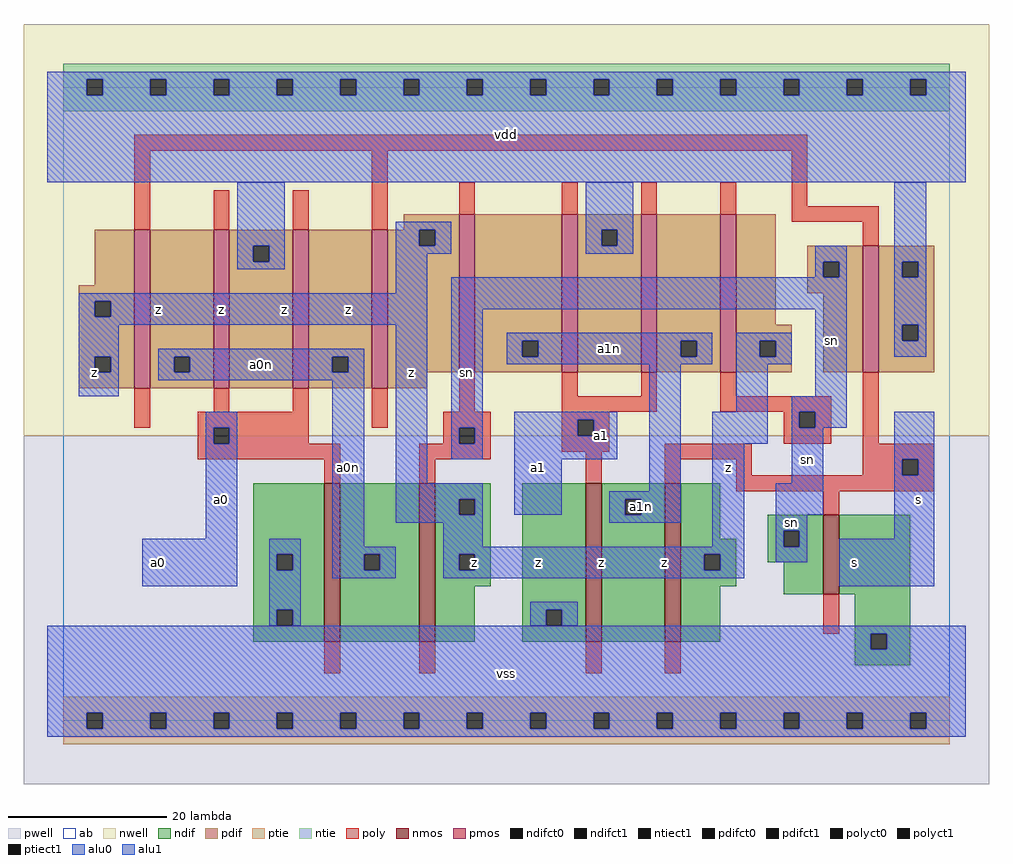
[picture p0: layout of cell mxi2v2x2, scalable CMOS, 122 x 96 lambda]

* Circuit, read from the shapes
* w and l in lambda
.subckt mxi2v2x2 a0 a0n a1 a1n s sn vdd vss z
M1 a0n a0 vss vss nfet w=20 l=2
M2 z sn a0n vss nfet w=20 l=2
M3 a1n a1 vss vss nfet w=20 l=2
M4 z s a1n vss nfet w=20 l=2
M5 vss s sn vss nfet w=10 l=2
M6 a0n s z vdd pfet w=20 l=2 m=2
M7 vdd a0 a0n vdd pfet w=20 l=2 m=2
M8 a1n sn z vdd pfet w=20 l=2 m=2
M9 vdd a1 a1n vdd pfet w=20 l=2 m=2
M10 vdd s sn vdd pfet w=16 l=2
.ends

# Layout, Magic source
magic
tech scmos
<< ab >>
rect 0 0 112 80
<< nwell >>
rect -5 36 117 88
<< pwell >>
rect -5 -8 117 36
<< poly >>
rect 9 72 94 74
rect 9 62 11 72
rect 19 62 21 67
rect 29 62 31 67
rect 39 62 41 72
rect 50 64 52 68
rect 63 64 65 68
rect 73 64 75 68
rect 83 64 85 68
rect 92 65 94 72
rect 92 63 103 65
rect 101 60 103 63
rect 9 37 11 42
rect 19 39 21 42
rect 29 39 31 42
rect 17 37 31 39
rect 39 37 41 42
rect 50 39 52 44
rect 63 41 65 44
rect 73 41 75 44
rect 63 39 75 41
rect 83 41 85 44
rect 83 39 97 41
rect 48 37 54 39
rect 17 35 19 37
rect 21 35 31 37
rect 48 35 50 37
rect 52 35 54 37
rect 17 33 35 35
rect 33 30 35 33
rect 45 33 54 35
rect 63 38 69 39
rect 63 36 65 38
rect 67 36 69 38
rect 63 34 69 36
rect 91 37 93 39
rect 95 37 97 39
rect 91 35 97 37
rect 101 35 103 44
rect 45 30 47 33
rect 66 30 68 34
rect 76 33 87 35
rect 76 30 78 33
rect 85 31 87 33
rect 101 33 110 35
rect 101 31 106 33
rect 108 31 110 33
rect 85 29 110 31
rect 96 26 98 29
rect 96 11 98 16
rect 33 6 35 10
rect 45 6 47 10
rect 66 6 68 10
rect 76 6 78 10
<< ndif >>
rect 24 21 33 30
rect 24 19 27 21
rect 29 19 33 21
rect 24 14 33 19
rect 24 12 27 14
rect 29 12 33 14
rect 24 10 33 12
rect 35 21 45 30
rect 35 19 38 21
rect 40 19 45 21
rect 35 10 45 19
rect 47 28 54 30
rect 47 26 50 28
rect 52 26 54 28
rect 47 21 54 26
rect 47 19 50 21
rect 52 19 54 21
rect 47 17 54 19
rect 47 10 52 17
rect 58 14 66 30
rect 58 12 61 14
rect 63 12 66 14
rect 58 10 66 12
rect 68 28 76 30
rect 68 26 71 28
rect 73 26 76 28
rect 68 10 76 26
rect 78 23 83 30
rect 89 24 96 26
rect 78 21 85 23
rect 78 19 81 21
rect 83 19 85 21
rect 89 22 91 24
rect 93 22 96 24
rect 89 20 96 22
rect 78 17 85 19
rect 78 10 83 17
rect 91 16 96 20
rect 98 16 107 26
rect 100 11 107 16
rect 100 9 102 11
rect 104 9 107 11
rect 100 7 107 9
<< pdif >>
rect 43 62 50 64
rect 4 55 9 62
rect 2 53 9 55
rect 2 51 4 53
rect 6 51 9 53
rect 2 46 9 51
rect 2 44 4 46
rect 6 44 9 46
rect 2 42 9 44
rect 11 46 19 62
rect 11 44 14 46
rect 16 44 19 46
rect 11 42 19 44
rect 21 60 29 62
rect 21 58 24 60
rect 26 58 29 60
rect 21 42 29 58
rect 31 46 39 62
rect 31 44 34 46
rect 36 44 39 46
rect 31 42 39 44
rect 41 60 45 62
rect 47 60 50 62
rect 41 44 50 60
rect 52 48 63 64
rect 52 46 58 48
rect 60 46 63 48
rect 52 44 63 46
rect 65 62 73 64
rect 65 60 68 62
rect 70 60 73 62
rect 65 44 73 60
rect 75 48 83 64
rect 75 46 78 48
rect 80 46 83 48
rect 75 44 83 46
rect 85 50 90 64
rect 94 58 101 60
rect 94 56 96 58
rect 98 56 101 58
rect 94 54 101 56
rect 85 48 92 50
rect 85 46 88 48
rect 90 46 92 48
rect 85 44 92 46
rect 96 44 101 54
rect 103 58 110 60
rect 103 56 106 58
rect 108 56 110 58
rect 103 50 110 56
rect 103 48 106 50
rect 108 48 110 50
rect 103 44 110 48
rect 41 42 46 44
<< alu1 >>
rect -2 81 114 82
rect -2 79 3 81
rect 5 79 11 81
rect 13 79 19 81
rect 21 79 27 81
rect 29 79 35 81
rect 37 79 43 81
rect 45 79 51 81
rect 53 79 59 81
rect 61 79 67 81
rect 69 79 75 81
rect 77 79 83 81
rect 85 79 91 81
rect 93 79 99 81
rect 101 79 107 81
rect 109 79 114 81
rect -2 68 114 79
rect 42 62 49 63
rect 42 60 45 62
rect 47 60 49 62
rect 42 59 49 60
rect 42 54 46 59
rect 2 53 46 54
rect 2 51 4 53
rect 6 51 46 53
rect 2 50 46 51
rect 2 46 7 50
rect 2 44 4 46
rect 6 44 7 46
rect 2 41 7 44
rect 18 37 22 39
rect 18 35 19 37
rect 21 35 22 37
rect 18 23 22 35
rect 10 17 22 23
rect 42 30 46 50
rect 85 48 92 49
rect 85 46 88 48
rect 90 46 92 48
rect 85 45 92 46
rect 57 38 70 39
rect 57 36 65 38
rect 67 36 70 38
rect 57 33 70 36
rect 42 28 53 30
rect 42 26 50 28
rect 52 26 53 28
rect 57 26 63 33
rect 85 39 89 45
rect 42 25 53 26
rect 82 35 89 39
rect 48 22 53 25
rect 82 22 86 35
rect 48 21 86 22
rect 48 19 50 21
rect 52 19 81 21
rect 83 19 86 21
rect 105 33 110 39
rect 105 31 106 33
rect 108 31 110 33
rect 105 23 110 31
rect 48 18 86 19
rect 98 17 110 23
rect -2 11 114 12
rect -2 9 102 11
rect 104 9 114 11
rect -2 1 114 9
rect -2 -1 3 1
rect 5 -1 11 1
rect 13 -1 19 1
rect 21 -1 27 1
rect 29 -1 35 1
rect 37 -1 43 1
rect 45 -1 51 1
rect 53 -1 59 1
rect 61 -1 67 1
rect 69 -1 75 1
rect 77 -1 83 1
rect 85 -1 91 1
rect 93 -1 99 1
rect 101 -1 107 1
rect 109 -1 114 1
rect -2 -2 114 -1
<< ptie >>
rect 0 1 112 3
rect 0 -1 3 1
rect 5 -1 11 1
rect 13 -1 19 1
rect 21 -1 27 1
rect 29 -1 35 1
rect 37 -1 43 1
rect 45 -1 51 1
rect 53 -1 59 1
rect 61 -1 67 1
rect 69 -1 75 1
rect 77 -1 83 1
rect 85 -1 91 1
rect 93 -1 99 1
rect 101 -1 107 1
rect 109 -1 112 1
rect 0 -3 112 -1
<< ntie >>
rect 0 81 112 83
rect 0 79 3 81
rect 5 79 11 81
rect 13 79 19 81
rect 21 79 27 81
rect 29 79 35 81
rect 37 79 43 81
rect 45 79 51 81
rect 53 79 59 81
rect 61 79 67 81
rect 69 79 75 81
rect 77 79 83 81
rect 85 79 91 81
rect 93 79 99 81
rect 101 79 107 81
rect 109 79 112 81
rect 0 77 112 79
<< nmos >>
rect 33 10 35 30
rect 45 10 47 30
rect 66 10 68 30
rect 76 10 78 30
rect 96 16 98 26
<< pmos >>
rect 9 42 11 62
rect 19 42 21 62
rect 29 42 31 62
rect 39 42 41 62
rect 50 44 52 64
rect 63 44 65 64
rect 73 44 75 64
rect 83 44 85 64
rect 101 44 103 60
<< polyct0 >>
rect 50 35 52 37
rect 93 37 95 39
<< polyct1 >>
rect 19 35 21 37
rect 65 36 67 38
rect 106 31 108 33
<< ndifct0 >>
rect 27 19 29 21
rect 27 12 29 14
rect 38 19 40 21
rect 61 12 63 14
rect 71 26 73 28
rect 91 22 93 24
<< ndifct1 >>
rect 50 26 52 28
rect 50 19 52 21
rect 81 19 83 21
rect 102 9 104 11
<< ntiect1 >>
rect 3 79 5 81
rect 11 79 13 81
rect 19 79 21 81
rect 27 79 29 81
rect 35 79 37 81
rect 43 79 45 81
rect 51 79 53 81
rect 59 79 61 81
rect 67 79 69 81
rect 75 79 77 81
rect 83 79 85 81
rect 91 79 93 81
rect 99 79 101 81
rect 107 79 109 81
<< ptiect1 >>
rect 3 -1 5 1
rect 11 -1 13 1
rect 19 -1 21 1
rect 27 -1 29 1
rect 35 -1 37 1
rect 43 -1 45 1
rect 51 -1 53 1
rect 59 -1 61 1
rect 67 -1 69 1
rect 75 -1 77 1
rect 83 -1 85 1
rect 91 -1 93 1
rect 99 -1 101 1
rect 107 -1 109 1
<< pdifct0 >>
rect 14 44 16 46
rect 24 58 26 60
rect 34 44 36 46
rect 58 46 60 48
rect 68 60 70 62
rect 78 46 80 48
rect 96 56 98 58
rect 106 56 108 58
rect 106 48 108 50
<< pdifct1 >>
rect 4 51 6 53
rect 4 44 6 46
rect 45 60 47 62
rect 88 46 90 48
<< alu0 >>
rect 22 60 28 68
rect 22 58 24 60
rect 26 58 28 60
rect 22 57 28 58
rect 66 62 72 68
rect 66 60 68 62
rect 70 60 72 62
rect 66 59 72 60
rect 95 58 99 60
rect 95 56 96 58
rect 98 56 99 58
rect 12 46 38 47
rect 12 44 14 46
rect 16 44 34 46
rect 36 44 38 46
rect 12 43 38 44
rect 26 21 30 23
rect 26 19 27 21
rect 29 19 30 21
rect 26 14 30 19
rect 34 22 38 43
rect 49 52 99 56
rect 49 37 53 52
rect 56 48 82 49
rect 56 46 58 48
rect 60 46 78 48
rect 80 46 82 48
rect 56 45 82 46
rect 49 35 50 37
rect 52 35 53 37
rect 49 33 53 35
rect 74 29 78 45
rect 95 41 99 52
rect 105 58 109 68
rect 105 56 106 58
rect 108 56 109 58
rect 105 50 109 56
rect 105 48 106 50
rect 108 48 109 50
rect 105 46 109 48
rect 69 28 78 29
rect 69 26 71 28
rect 73 26 78 28
rect 69 25 78 26
rect 92 39 99 41
rect 92 37 93 39
rect 95 37 99 39
rect 92 30 96 37
rect 34 21 42 22
rect 34 19 38 21
rect 40 19 42 21
rect 34 18 42 19
rect 90 26 96 30
rect 90 24 94 26
rect 90 22 91 24
rect 93 22 94 24
rect 90 20 94 22
rect 26 12 27 14
rect 29 12 30 14
rect 59 14 65 15
rect 59 12 61 14
rect 63 12 65 14
<< labels >>
rlabel alu0 51 44 51 44 6 sn
rlabel alu0 36 32 36 32 6 a0n
rlabel alu0 25 45 25 45 6 a0n
rlabel alu0 73 27 73 27 6 a1n
rlabel alu0 69 47 69 47 6 a1n
rlabel alu0 92 25 92 25 6 sn
rlabel alu0 97 48 97 48 6 sn
rlabel alu0 94 33 94 33 6 sn
rlabel alu1 12 20 12 20 6 a0
rlabel alu1 20 28 20 28 6 a0
rlabel alu1 4 44 4 44 6 z
rlabel alu1 20 52 20 52 6 z
rlabel alu1 12 52 12 52 6 z
rlabel alu1 52 20 52 20 6 z
rlabel alu1 44 44 44 44 6 z
rlabel alu1 28 52 28 52 6 z
rlabel alu1 36 52 36 52 6 z
rlabel alu1 56 6 56 6 6 vss
rlabel alu1 68 20 68 20 6 z
rlabel alu1 76 20 76 20 6 z
rlabel alu1 60 20 60 20 6 z
rlabel alu1 60 32 60 32 6 a1
rlabel alu1 68 36 68 36 6 a1
rlabel alu1 56 74 56 74 6 vdd
rlabel alu1 100 20 100 20 6 s
rlabel alu1 84 32 84 32 6 z
rlabel alu1 108 28 108 28 6 s
<< end >>
